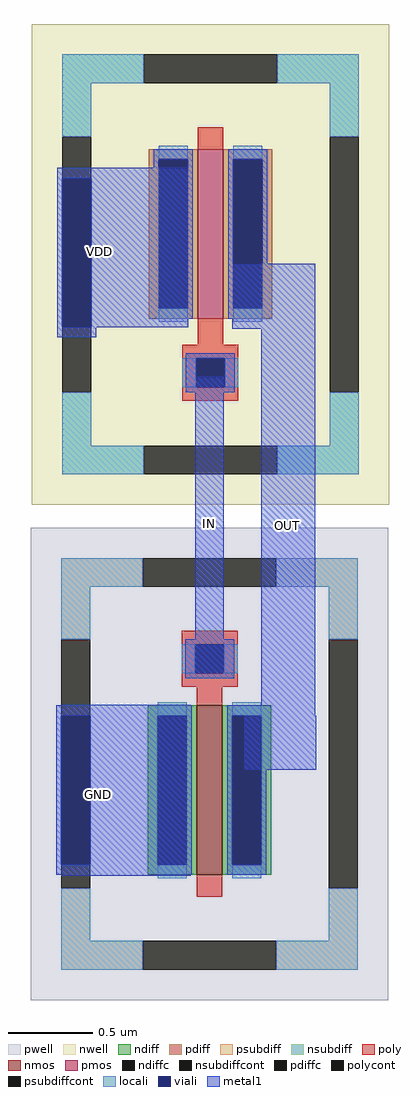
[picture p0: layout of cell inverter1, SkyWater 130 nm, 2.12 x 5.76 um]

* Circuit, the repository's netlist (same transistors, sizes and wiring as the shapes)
** sch_path: /home/fauzann/latiahan1/inverter1.sch
.subckt inverter1 vdd in out gnd
*.PININFO vdd:I in:I gnd:I out:O
XM2 out in vdd vdd sky130_fd_pr__pfet_01v8 L=0.15 W=1 nf=1 m=1
XM1 out in gnd gnd sky130_fd_pr__nfet_01v8 L=0.15 W=1 nf=1 m=1
.ends
.end

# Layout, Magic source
magic
tech sky130A
magscale 1 2
<< viali >>
rect -17 179 17 355
rect -18 -456 16 -280
<< metal1 >>
rect -23 355 132 367
rect -23 179 -17 355
rect 17 179 132 355
rect 218 253 282 254
rect -23 167 23 179
rect 184 177 282 253
rect 140 -230 174 120
rect -18 -268 135 -267
rect -24 -280 135 -268
rect 218 -280 282 177
rect -24 -456 -18 -280
rect 16 -456 135 -280
rect 198 -344 283 -280
rect -24 -468 135 -456
rect -18 -469 135 -468
use sky130_fd_pr__nfet_01v8_64Z3AY  XM1
transform 1 0 157 0 1 -337
box -211 -279 211 279
use sky130_fd_pr__pfet_01v8_LGS3BL  XM2
transform 1 0 158 0 1 253
box -211 -284 211 284
<< labels >>
flabel metal1 27 268 27 268 0 FreeSans 160 0 0 0 VDD
port 1 nsew
flabel metal1 26 -373 26 -373 0 FreeSans 160 0 0 0 GND
port 2 nsew
flabel metal1 249 -55 249 -55 0 FreeSans 160 0 0 0 OUT
port 3 nsew
flabel metal1 157 -53 157 -53 0 FreeSans 160 0 0 0 IN
port 4 nsew
<< end >>

# cell sky130_fd_pr__nfet_01v8_64Z3AY: kit device sky130_fd_pr__nfet_01v8, w 1.0 l 0.15 m 1 nf 1 diffcov 100 polycov 100 guard 1 glc 1 grc 1 gtc 1 gbc 1 tbcov 100 rlcov 100 topc 1 botc 0 poverlap 0 doverlap 1 lmin 0.15 wmin 0.42 compatible {sky130_fd_pr__nfet_01v8 sky130_fd_pr__nfet_01v8_lvt sky130_fd_bs_flash__special_sonosfet_star sky130_fd_pr__nfet_g5v0d10v5 sky130_fd_pr__nfet_05v0_nvt sky130_fd_pr__nfet_03v3_nvt} full_metal 1 viasrc 100 viadrn 100 viagate 100 viagb 0 viagr 0 viagl 0 viagt 0

# cell sky130_fd_pr__pfet_01v8_LGS3BL: kit device sky130_fd_pr__pfet_01v8, w 1.0 l 0.15 m 1 nf 1 diffcov 100 polycov 100 guard 1 glc 1 grc 1 gtc 1 gbc 1 tbcov 100 rlcov 100 topc 0 botc 1 poverlap 0 doverlap 1 lmin 0.15 wmin 0.42 compatible {sky130_fd_pr__pfet_01v8 sky130_fd_pr__pfet_01v8_lvt sky130_fd_pr__pfet_01v8_hvt sky130_fd_pr__pfet_g5v0d10v5} full_metal 1 viasrc 100 viadrn 100 viagate 100 viagb 0 viagr 0 viagl 0 viagt 0
